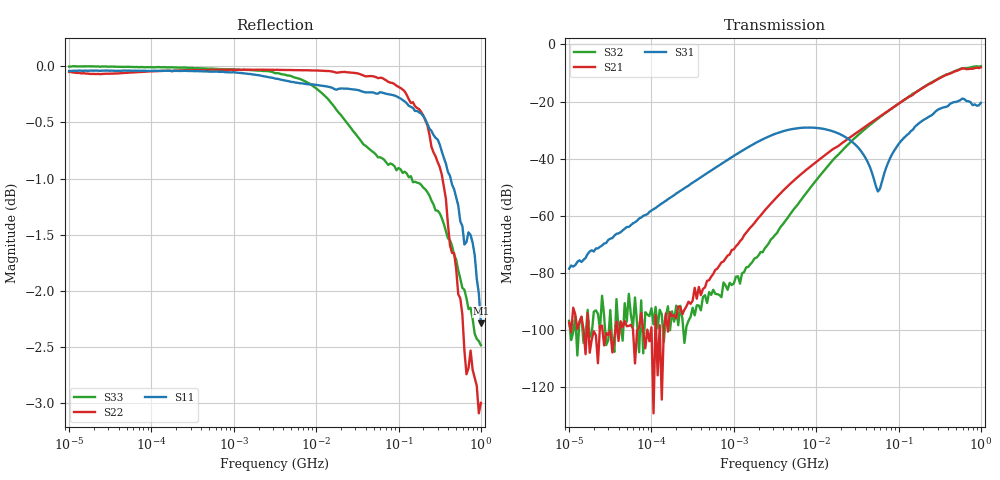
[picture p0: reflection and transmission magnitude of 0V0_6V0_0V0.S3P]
!Keysight Technologies,E5080A,MY55100144,A.11.70.03
!Date: Monday, November 13, 2017 17:25:49
!Correction: S11(Full 3 Port(1,2,3))
!S12(Full 3 Port(1,2,3))
!S13(Full 3 Port(1,2,3))
!S21(Full 3 Port(1,2,3))
!S22(Full 3 Port(1,2,3))
!S23(Full 3 Port(1,2,3))
!S31(Full 3 Port(1,2,3))
!S32(Full 3 Port(1,2,3))
!S33(Full 3 Port(1,2,3))
!S3P File: Measurements: <S11,S12,S13>,
!<S21,S22,S23>,
!<S31,S32,S33>:Log Frequency Sweep
# Hz S  RI  R 50
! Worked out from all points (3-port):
!   201 points, 10 kHz to 1 GHz, reference 50 ohm
!   strongest paths, dB at 10 kHz, 177.8 kHz, 3.162 MHz, 56.23 MHz, 1 GHz:
!     S31: -78.5, -53.2, -31.3, -51.5, -20.4
!     S21: -97.4, -95.2, -54.2, -25.7, -8.0
!     S32: -96.8, -93.4, -66.7, -26.0, -7.6
!   lowest |S11| = -2.3 dB at 1 GHz (marker M1), VSWR 7.63, Z = 382 - j0.146 ohm
!   |S11| at or under -10 dB: nowhere
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10000  0.9952 -0.00562  8.98e-06 -1.38e-05  -1.21e-05 0.000135
       -1.35e-05 1.37e-06  0.4708 -0.8758  -1.11e-05 -1.44e-06
       -4e-06 0.000119  -2.23e-06 1.43e-05  0.9998 -0.00236
50118.72  0.9952 -0.0274  -1.82e-05 -6.01e-07  2.5e-05 0.000624
          -1.07e-05 -4.79e-06  -0.7915 -0.6002  -8.44e-06 1.22e-05
          3.24e-05 0.000635  -4e-06 -1.34e-05  0.9995 -0.00565
562341.3  0.9491 -0.2976  -9.32e-05 4.75e-05  0.00137 0.00641
          -7.43e-05 6.05e-05  -0.9949 -0.0576  -1.99e-05 1.66e-05
          0.00141 0.00639  -9.2e-06 4.99e-05  0.9961 -0.0542
3162278  0.1442 -0.977  -0.00134 0.00144  0.0207 0.0176
         -0.00132 0.00145  -0.9963 0.00465  -0.000415 0.000234
         0.0209 0.0174  -0.000412 0.000208  0.9501 -0.2889
2.113489e7  -0.9401 -0.268  -0.00127 0.0192  0.0204 -0.0151
            -0.00132 0.0192  -0.9894 0.0981  -0.00856 0.0115
            0.0204 -0.0151  -0.00858 0.0115  -0.018 -0.9485
5.623413e7  -0.971 0.0515  0.00876 0.0511  0.00268 8.82e-05
            0.00879 0.0511  -0.9534 0.259  -0.00536 0.0499
            0.00267 6.81e-05  -0.00531 0.0499  -0.761 -0.5008
1.059254e8  -0.9336 0.254  0.0375 0.0895  0.00776 0.0184
            0.0376 0.0895  -0.8607 0.4644  0.0231 0.0945
            0.00777 0.0184  0.023 0.0945  -0.8951 -0.091
3.758374e8  -0.3694 0.8262  0.2899 0.0336  0.0807 -0.00588
            0.2902 0.0335  0.0975 0.8676  0.2902 0.0576
            0.0805 -0.00588  0.2899 0.0576  -0.4867 0.69
7.079458e8  0.463 0.7049  0.1999 -0.313  0.0114 -0.1008
            0.1996 -0.3138  0.6981 0.226  0.2458 -0.3032
            0.0114 -0.1009  0.2459 -0.3025  0.257 0.736
1e9  0.7683 -7.86e-05  -0.0999 -0.3849  -0.0572 -0.0755
     -0.1003 -0.3851  0.5906 -0.3905  -0.0459 -0.4148
     -0.0571 -0.0759  -0.0456 -0.4147  0.6829 0.3129
